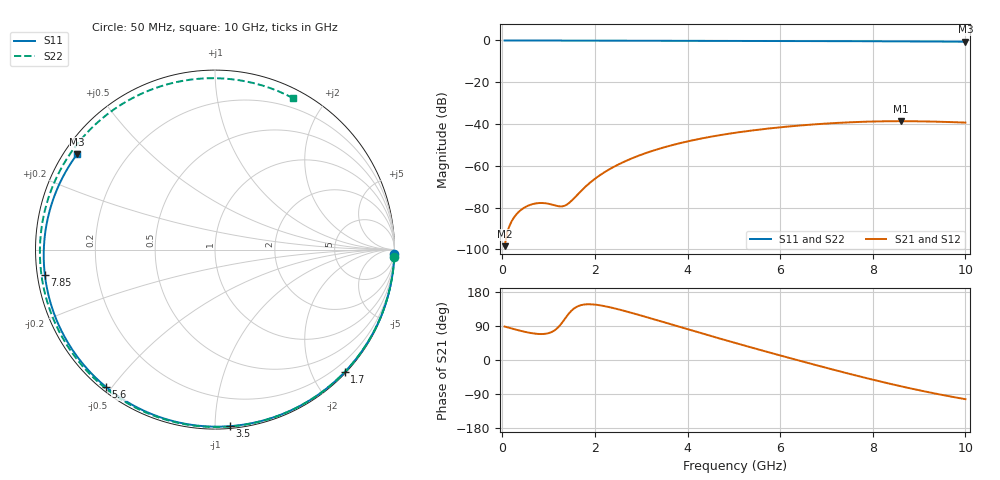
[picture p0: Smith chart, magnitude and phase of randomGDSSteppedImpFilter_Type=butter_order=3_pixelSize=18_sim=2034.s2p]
! freq	dB(S11)	phase(S11)	dB(S12)	phase(S12)
!  dB(S21)	phase(S21)	dB(S22)	phase(S22)
!S-par simulation data
#  GHz  S  DB  R 50
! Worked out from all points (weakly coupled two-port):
!   200 points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, 50 MHz to 10 GHz, reference 50 ohm
!   highest |S21| = -38.66 dB at 8.6 GHz (marker M1); lowest = -98.5 dB at 50 MHz (marker M2)
!   lowest |S11| = -0.6 dB at 10 GHz (marker M3), VSWR 29.35, Z = 1.87 + j15.6 ohm
!   |S11| at or under -10 dB: nowhere
!   |S22| runs from -0.5 to 0.0 dB; largest |S21 - S12| = 0
!   S11 on the Smith chart (normalised r, x): 50 MHz: 0, -87; 1.7 GHz: 0.02, -2.52; 3.5 GHz: 0.01, -1.09; 5.6 GHz: 0.01, -0.48; 7.85 GHz: 0.02, -0.07; 10 GHz: 0.04, +0.31
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0.05  -0.00 -1.3  -98.51 88.3  -98.51 88.3  -0.00 -2.2
0.45  -0.02 -11.7  -80.41 75.4  -80.41 75.4  -0.03 -19.8
0.8  -0.03 -20.7  -77.86 68.6  -77.86 68.6  -0.04 -34.9
1.3  -0.04 -33.4  -79.43 99.9  -79.43 99.9  -0.07 -55.6
1.45  -0.05 -37.2  -77.67 124.4  -77.67 124.4  -0.07 -61.5
1.7  -0.05 -43.3  -72.06 144.8  -72.06 144.8  -0.08 -71.1
1.75  -0.06 -44.6  -70.97 146.1  -70.97 146.1  -0.08 -73.0
2.05  -0.07 -51.9  -65.43 145.5  -65.43 145.5  -0.10 -84.0
2.45  -0.08 -61.4  -60.03 135.5  -60.03 135.5  -0.11 -97.9
2.9  -0.09 -71.9  -55.55 120.7  -55.55 120.7  -0.12 -112.4
3.4  -0.11 -83.1  -51.78 103.0  -51.78 103.0  -0.14 -127.5
3.5  -0.11 -85.3  -51.14 99.4  -51.14 99.4  -0.14 -130.4
4.25  -0.14 -101.4  -47.17 72.4  -47.17 72.4  -0.17 -151.1
5.05  -0.17 -117.7  -44.14 44.3  -44.14 44.3  -0.20 -171.6
5.6  -0.20 -128.5  -42.55 25.5  -42.55 25.5  -0.22 174.9
6.15  -0.24 -139.2  -41.27 7.0  -41.27 7.0  -0.25 161.6
6.7  -0.27 -149.7  -40.24 -11.1  -40.24 -11.1  -0.28 148.3
7.85  -0.37 -171.5  -38.90 -47.4  -38.90 -47.4  -0.34 119.9
8.35  -0.42 178.8  -38.69 -62.1  -38.69 -62.1  -0.37 107.1
8.6  -0.44 173.9  -38.66 -69.1  -38.66 -69.1  -0.38 100.6
9.3  -0.52 159.9  -38.85 -87.4  -38.85 -87.4  -0.42 81.9
10  -0.59 145.3  -39.33 -103.3  -39.33 -103.3  -0.45 62.7
